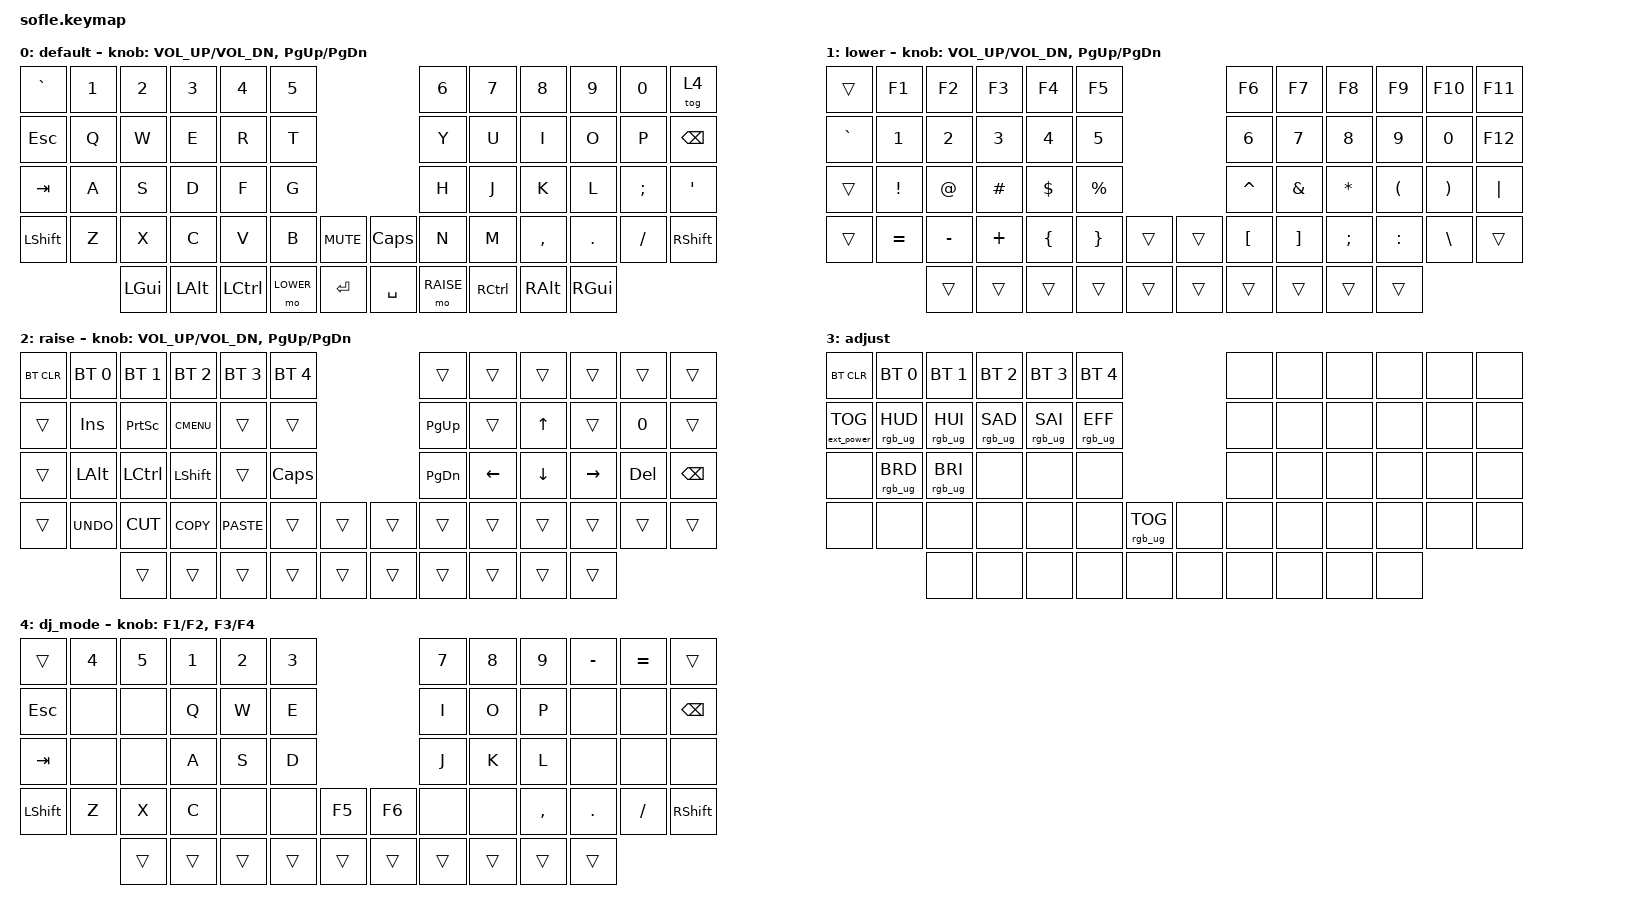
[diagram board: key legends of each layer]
/*
 * Copyright (c) 2020 The ZMK Contributors
 *
 * SPDX-License-Identifier: MIT
 */

#include <behaviors.dtsi>
#include <dt-bindings/zmk/bt.h>
#include <dt-bindings/zmk/ext_power.h>
#include <dt-bindings/zmk/keys.h>
#include <dt-bindings/zmk/rgb.h>

#define BASE 0
#define LOWER 1
#define RAISE 2
#define ADJUST 3

/ {
    conditional_layers {
        compatible = "zmk,conditional-layers";

        adjust_layer {
            if-layers = <LOWER RAISE>;
            then-layer = <ADJUST>;
        };
    };

    keymap {
        compatible = "zmk,keymap";

        default_layer {
            display-name = "default";
            bindings = <
&kp GRAVE  &kp N1  &kp N2    &kp N3    &kp N4     &kp N5                              &kp N6     &kp N7     &kp N8     &kp N9    &kp N0    &tog 4
&kp ESC    &kp Q   &kp W     &kp E     &kp R      &kp T                               &kp Y      &kp U      &kp I      &kp O     &kp P     &kp BSPC
&kp TAB    &kp A   &kp S     &kp D     &kp F      &kp G                               &kp H      &kp J      &kp K      &kp L     &kp SEMI  &kp SQT
&kp LSHFT  &kp Z   &kp X     &kp C     &kp V      &kp B      &kp C_MUTE    &kp CAPS   &kp N      &kp M      &kp COMMA  &kp DOT   &kp FSLH  &kp RSHFT
                   &kp LGUI  &kp LALT  &kp LCTRL  &mo LOWER  &kp RET       &kp SPACE  &mo RAISE  &kp RCTRL  &kp RALT   &kp RGUI
            >;

            sensor-bindings = <&inc_dec_kp C_VOL_UP C_VOL_DN &inc_dec_kp PG_UP PG_DN>;
        };

        lower_layer {
            display-name = "lower";
            bindings = <
&trans     &kp F1     &kp F2     &kp F3    &kp F4    &kp F5                       &kp F6     &kp F7    &kp F8     &kp F9     &kp F10   &kp F11
&kp GRAVE  &kp N1     &kp N2     &kp N3    &kp N4    &kp N5                       &kp N6     &kp N7    &kp N8     &kp N9     &kp N0    &kp F12
&trans     &kp EXCL   &kp AT     &kp HASH  &kp DLLR  &kp PRCNT                    &kp CARET  &kp AMPS  &kp ASTRK  &kp LPAR   &kp RPAR  &kp PIPE
&trans     &kp EQUAL  &kp MINUS  &kp PLUS  &kp LBRC  &kp RBRC   &trans    &trans  &kp LBKT   &kp RBKT  &kp SEMI   &kp COLON  &kp BSLH  &trans
                      &trans     &trans    &trans    &trans     &trans    &trans  &trans     &trans    &trans     &trans
            >;

            sensor-bindings = <&inc_dec_kp C_VOL_UP C_VOL_DN &inc_dec_kp PG_UP PG_DN>;
        };

        raise_layer {
            display-name = "raise";
            bindings = <
&bt BT_CLR  &bt BT_SEL 0  &bt BT_SEL 1  &bt BT_SEL 2  &bt BT_SEL 3  &bt BT_SEL 4                    &trans     &trans    &trans    &trans     &trans   &trans
&trans      &kp INS       &kp PSCRN     &kp K_CMENU   &trans        &trans                          &kp PG_UP  &trans    &kp UP    &trans     &kp N0   &trans
&trans      &kp LALT      &kp LCTRL     &kp LSHFT     &trans        &kp CLCK                        &kp PG_DN  &kp LEFT  &kp DOWN  &kp RIGHT  &kp DEL  &kp BSPC
&trans      &kp K_UNDO    &kp K_CUT     &kp K_COPY    &kp K_PASTE   &trans        &trans    &trans  &trans     &trans    &trans    &trans     &trans   &trans
                          &trans        &trans        &trans        &trans        &trans    &trans  &trans     &trans    &trans    &trans
            >;

            sensor-bindings = <&inc_dec_kp C_VOL_UP C_VOL_DN &inc_dec_kp PG_UP PG_DN>;
        };

        adjust_layer {
            display-name = "adjust";
            bindings = <
&bt BT_CLR         &bt BT_SEL 0     &bt BT_SEL 1     &bt BT_SEL 2     &bt BT_SEL 3     &bt BT_SEL 4                               &none  &none  &none  &none  &none  &none
&ext_power EP_TOG  &rgb_ug RGB_HUD  &rgb_ug RGB_HUI  &rgb_ug RGB_SAD  &rgb_ug RGB_SAI  &rgb_ug RGB_EFF                            &none  &none  &none  &none  &none  &none
&none              &rgb_ug RGB_BRD  &rgb_ug RGB_BRI  &none            &none            &none                                      &none  &none  &none  &none  &none  &none
&none              &none            &none            &none            &none            &none            &rgb_ug RGB_TOG    &none  &none  &none  &none  &none  &none  &none
                                    &none            &none            &none            &none            &none              &none  &none  &none  &none  &none
            >;
        };

        dj_layer {
            display-name = "dj_mode";
            bindings = <
&trans     &kp N4  &kp N5  &kp N1  &kp N2  &kp N3                    &kp N7  &kp N8  &kp N9     &kp MINUS  &kp EQUAL  &trans
&kp ESC    &none   &none   &kp Q   &kp W   &kp E                     &kp I   &kp O   &kp P      &none      &none      &kp BSPC
&kp TAB    &none   &none   &kp A   &kp S   &kp D                     &kp J   &kp K   &kp L      &none      &none      &none
&kp LSHFT  &kp Z   &kp X   &kp C   &none   &none   &kp F5    &kp F6  &none   &none   &kp COMMA  &kp DOT    &kp FSLH   &kp RSHFT
                   &trans  &trans  &trans  &trans  &trans    &trans  &trans  &trans  &trans     &trans
            >;

            sensor-bindings = <&inc_dec_kp F1 F2 &inc_dec_kp F3 F4>;
        };
    };
};
